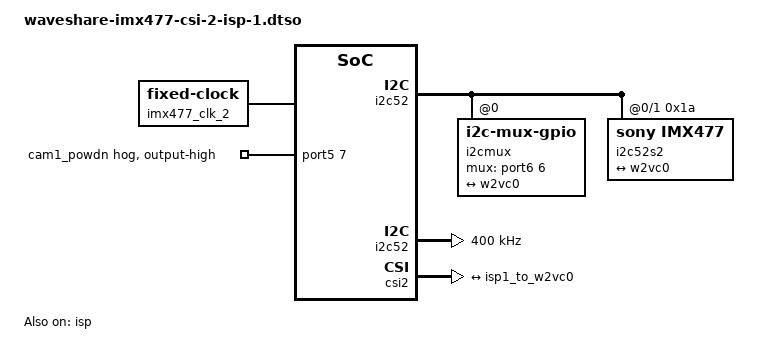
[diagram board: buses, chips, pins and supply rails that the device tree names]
// SPDX-License-Identifier: (GPL-2.0+ OR MIT)
/*
 * Copyright (c) 2025 SiMa ai
 */

/dts-v1/;
/plugin/;

&port5 {
	cam-hog1 {
		gpio-hog;
		/* Set port5 gpio7 to GPIO_ACTIVE_HIGH mode */
		gpios = <7 0>;
		output-high;
		line-name = "cam1_powdn";
	};
};

&i2c52 {
    status = "okay";
    clock-frequency = <400000>;
    #address-cells = <1>;
    #size-cells = <0>;
};

/ {
    fragment@10 {
        target-path = "/"; /* Root node of the base tree */
        __overlay__ {
			imx477_clk_2: csi2_camera-clk {
				compatible = "fixed-clock";
				#clock-cells = <0>;
				clock-frequency = <24000000>;
			};
        };
    };

    fragment@11 {
        target-path = "/"; /* Root node of the base tree */
        __overlay__ {
			i2cmux@0 {
				compatible = "i2c-mux-gpio";
				i2c-parent = <&i2c52>;
				#address-cells = <1>;
				#size-cells = <0>;
				/* Set port6 gpio6 to GPIO_ACTIVE_LOW mode */
				mux-gpios = <&port6 6 0>;
				i2c@1 {
					reg = <1>;
					#address-cells = <1>;
					#size-cells = <0>;
					i2c52s2: sensor@1a {
						compatible = "sony,imx477";
						reg = <0x1a>;
						clocks = <&imx477_clk_2>;
						clock-names = "xclk";
						i2c52p2: port@1 {
							camera_2: endpoint@0 {
								remote-endpoint = <&w2vc0>;
								data-lanes = <1 2>;
								clock-lanes = <0>;
								clock-continuous;
								link-frequencies = /bits/ 64 <450000000>;
							};
						};
					};
				};
			};
		};
	};
};

&mipi_dphy_rx2 {
	snps,dphy-frequency = <450000000>;
};

&axi_vdma_vis2 { status = "okay"; };

&csi2 {
	status = "okay";
	isp-connected = <1>;
	csi2p0: port@1 {
		reg = <1>;
		w2vc0_to_isp1: endpoint@1 {
			remote-endpoint = <&isp1_to_w2vc0>;
			data-lanes = <1 2>;
			clock-lanes = <1>;
			clock-continuous;
			link-frequencies = /bits/ 64 <450000000>;
		};
	};
};

&isp {
	status = "okay";
	ports {
		#address-cells = <1>;
		#size-cells = <0>;
		isp1p0: port@2 {
			reg = <1>;
			isp1_to_w2vc0: endpoint@0 {
				remote-endpoint = <&w2vc0_to_isp1>;
				dma-index = <2>;
			};
			w2vc0: endpoint@1 {
				remote-endpoint = <&camera_2>;
				sensor-id = <1>;
			};
		};
	};
};
